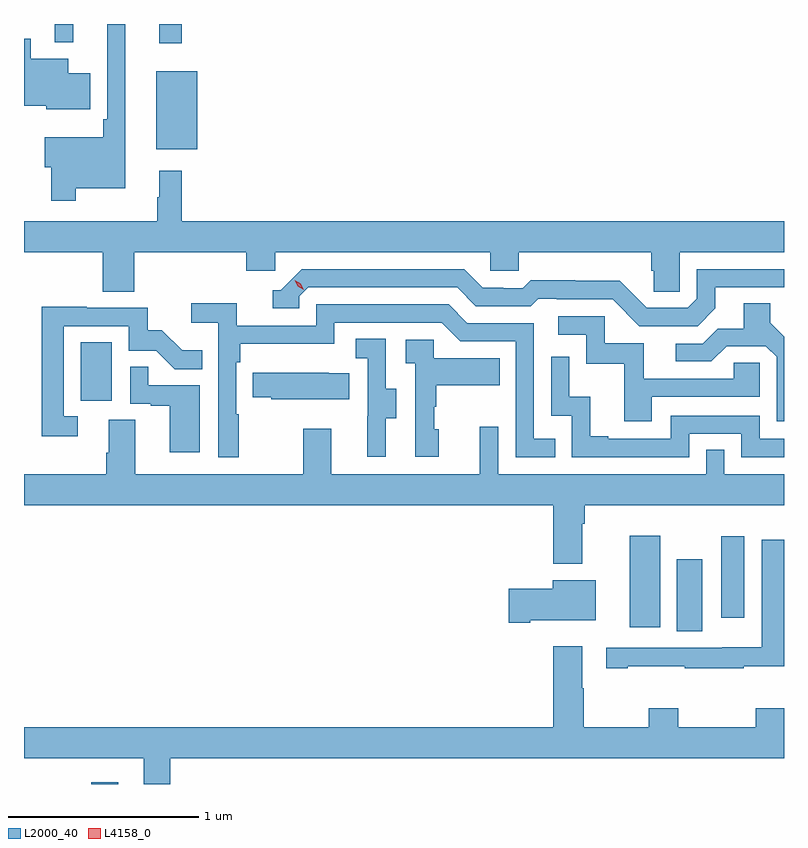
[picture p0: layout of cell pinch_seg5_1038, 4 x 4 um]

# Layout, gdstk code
import gdstk
lib = gdstk.Library(unit=1e-6, precision=1e-09)
def R(c, l, rs):  # rectangles x0, y0, x1, y1
    for r in rs: c.add(gdstk.rectangle(r[:2], r[2:], *l))
def P(c, l, *ps):  # polygons
    for p in ps: c.add(gdstk.Polygon(p, *l))
L2000_40 = (2000, 40)
L4158_0 = (4158, 0)

pinch_seg5_1038 = lib.new_cell('pinch_seg5_1038')
R(pinch_seg5_1038, L2000_40, [(837.371,855.293,837.511,855.301), (840.452,856.096,840.586,856.477), (840.203,856.119,840.364,856.6), (840.686,856.167,840.808,856.597), (837.314,857.31,837.478,857.617), (837.713,858.635,837.928,859.045), (837.728,859.191,837.845,859.293), (837.177,859.196,837.275,859.293)])
P(pinch_seg5_1038, L2000_40, [(837.289,858.428),(837.55,858.428),(837.55,859.293),(837.453,859.293),(837.453,858.793),(837.433,858.793),(837.433,858.697),(837.126,858.697),(837.126,858.539),(837.16,858.539),(837.16,858.363),(837.289,858.363)],
  [(837.364,859.033),(837.25,859.033),(837.25,859.111),(837.052,859.111),(837.052,859.216),(837.016,859.216),(837.016,858.863),(837.132,858.863),(837.132,858.845),(837.364,858.845)],
  [(837.596,858.092),(838.187,858.092),(838.187,857.994),(838.338,857.994),(838.338,858.092),(839.469,858.092),(839.469,857.994),(839.619,857.994),(839.619,858.092),(840.317,858.092),(840.317,857.994),(840.331,857.994),(840.331,857.884),(840.468,857.884),(840.468,858.092),(841.016,858.092),(841.016,858.256),(837.845,858.256),(837.845,858.52),(837.728,858.52),(837.728,858.38),(837.717,858.38),(837.717,858.256),(837.016,858.256),(837.016,858.092),(837.431,858.092),(837.431,857.884),(837.596,857.884)],
  [(840.655,857.797),(840.655,857.907),(841.016,857.907),(841.016,858.003),(840.558,858.003),(840.558,857.847),(840.51,857.799),(840.294,857.799),(840.152,857.941),(839.916,857.941),(839.916,857.944),(839.683,857.944),(839.641,857.901),(839.538,857.901),(839.538,857.904),(839.431,857.904),(839.332,858.003),(838.479,858.003),(838.368,857.892),(838.325,857.892),(838.325,857.796),(838.464,857.796),(838.464,857.859),(838.512,857.907),(839.295,857.907),(839.394,857.808),(839.683,857.808),(839.722,857.847),(839.821,857.847),(839.821,857.844),(840.114,857.844),(840.255,857.703),(840.561,857.703)],
  [(841.016,857.647),(840.943,857.72),(840.943,857.822),(840.803,857.822),(840.803,857.69),(840.668,857.69),(840.588,857.61),(840.447,857.61),(840.447,857.517),(840.634,857.517),(840.715,857.598),(840.921,857.598),(840.978,857.541),(840.978,857.202),(841.016,857.202)],
  [(838.147,857.24),(838.134,857.24),(838.134,857.513),(838.154,857.513),(838.154,857.609),(838.65,857.609),(838.65,857.721),(839.214,857.721),(839.313,857.622),(839.604,857.622),(839.604,857.013),(839.813,857.013),(839.813,857.109),(839.7,857.109),(839.7,857.718),(839.35,857.718),(839.251,857.817),(838.554,857.817),(838.554,857.706),(838.136,857.706),(838.136,857.822),(837.897,857.822),(837.897,857.72),(838.038,857.72),(838.038,857.013),(838.147,857.013)],
  [(837.298,857.229),(837.225,857.229),(837.225,857.703),(837.567,857.703),(837.567,857.574),(837.711,857.574),(837.809,857.476),(837.953,857.476),(837.953,857.575),(837.849,857.575),(837.742,857.682),(837.666,857.682),(837.666,857.799),(837.347,857.799),(837.347,857.804),(837.109,857.804),(837.109,857.124),(837.298,857.124)],
  [(840.319,857.331),(840.888,857.331),(840.888,857.511),(840.751,857.511),(840.751,857.427),(840.277,857.427),(840.277,857.613),(840.072,857.613),(840.072,857.754),(839.829,857.754),(839.829,857.658),(839.976,857.658),(839.976,857.505),(840.175,857.505),(840.175,857.202),(840.319,857.202)],
  [(838.921,857.218),(838.975,857.218),(838.975,857.373),(838.92,857.373),(838.92,857.636),(838.761,857.636),(838.761,857.533),(838.824,857.533),(838.824,857.229),(838.823,857.229),(838.823,857.016),(838.921,857.016)],
  [(839.2,857.16),(839.175,857.16),(839.175,857.279),(839.185,857.279),(839.185,857.393),(839.519,857.393),(839.519,857.533),(839.172,857.533),(839.172,857.631),(839.025,857.631),(839.025,857.507),(839.076,857.507),(839.076,857.016),(839.2,857.016)],
  [(840.516,857.136),(840.792,857.136),(840.792,857.013),(841.016,857.013),(841.016,857.109),(840.888,857.109),(840.888,857.232),(840.42,857.232),(840.42,857.109),(840.091,857.109),(840.091,857.122),(839.996,857.122),(839.996,857.33),(839.886,857.33),(839.886,857.542),(839.79,857.542),(839.79,857.232),(839.898,857.232),(839.898,857.013),(840.516,857.013)],
  [(837.94,857.391),(837.671,857.391),(837.671,857.489),(837.576,857.489),(837.576,857.295),(837.683,857.295),(837.683,857.283),(837.782,857.283),(837.782,857.04),(837.94,857.04)],
  [(838.727,857.455),(838.619,857.455),(838.619,857.458),(838.219,857.458),(838.219,857.329),(838.317,857.329),(838.317,857.318),(838.727,857.318)],
  [(839.953,856.664),(839.966,856.664),(839.966,856.76),(841.016,856.76),(841.016,856.924),(840.702,856.924),(840.702,857.051),(840.606,857.051),(840.606,856.924),(839.511,856.924),(839.511,857.173),(839.414,857.173),(839.414,856.924),(838.633,856.924),(838.633,857.164),(838.486,857.164),(838.486,856.924),(837.601,856.924),(837.601,857.21),(837.461,857.21),(837.461,857.036),(837.449,857.036),(837.449,856.924),(837.016,856.924),(837.016,856.76),(839.801,856.76),(839.801,856.451),(839.953,856.451)],
  [(840.193,855.913),(840.493,855.913),(840.493,855.903),(840.803,855.903),(840.803,855.913),(841.016,855.913),(841.016,856.579),(840.9,856.579),(840.9,856.012),(840.69,856.012),(840.69,856.011),(840.081,856.011),(840.081,855.903),(840.193,855.903)],
  [(839.68,856.154),(840.025,856.154),(840.025,856.366),(839.798,856.366),(839.798,856.32),(839.568,856.32),(839.568,856.142),(839.68,856.142)],
  [(837.787,855.428),(841.016,855.428),(841.016,855.691),(840.868,855.691),(840.868,855.592),(840.459,855.592),(840.459,855.691),(840.304,855.691),(840.304,855.592),(839.961,855.592),(839.961,855.797),(839.953,855.797),(839.953,856.018),(839.801,856.018),(839.801,855.592),(837.016,855.592),(837.016,855.428),(837.647,855.428),(837.647,855.293),(837.787,855.293)])
P(pinch_seg5_1038, L4158_0, [(838.489,857.894),(838.458,857.913),(838.441,857.945),(838.441,857.945),(838.441,857.945),(838.472,857.926),(838.489,857.894),(838.489,857.894)])

lib.write_gds('pinch_seg5_1038.gds')
